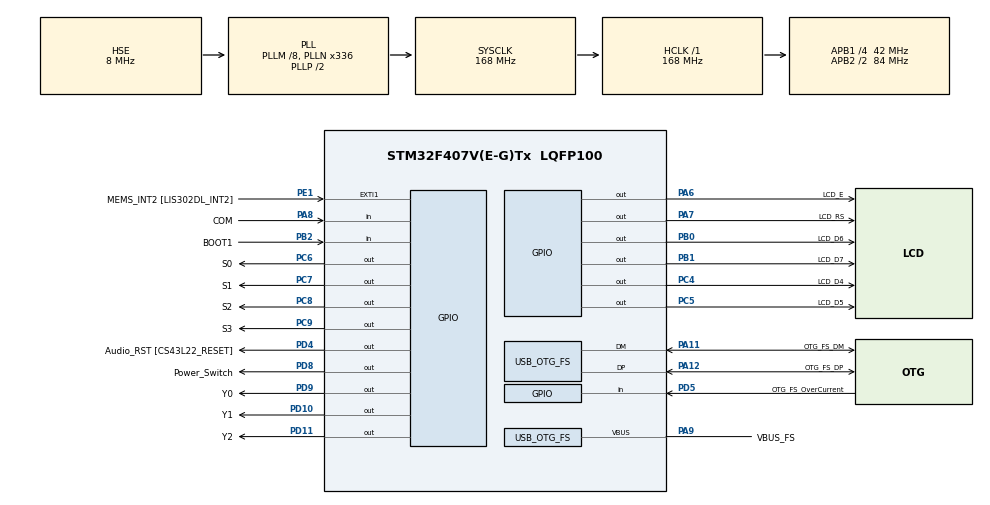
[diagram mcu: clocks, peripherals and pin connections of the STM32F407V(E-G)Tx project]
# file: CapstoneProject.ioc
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Mcu.Family=STM32F4
Mcu.Name=STM32F407V(E-G)Tx
Mcu.Package=LQFP100
NVIC.PriorityGroup=NVIC_PRIORITYGROUP_0
NVIC.TIM2_IRQn=true\:0\:0\:false\:false\:true\:true\:true\:true
PA10.GPIO_Label=OTG_FS_ID
PA10.GPIO_Mode=GPIO_MODE_AF_PP
PA10.GPIO_PuPd=GPIO_NOPULL
PA10.GPIO_Speed=GPIO_SPEED_FREQ_LOW
PA10.Signal=USB_OTG_FS_ID
PA11.GPIO_Label=OTG_FS_DM
PA11.GPIO_Mode=GPIO_MODE_AF_PP
PA11.GPIO_PuPd=GPIO_NOPULL
PA11.GPIO_Speed=GPIO_SPEED_FREQ_LOW
PA11.Mode=Host_Only
PA11.Signal=USB_OTG_FS_DM
PA12.GPIO_Label=OTG_FS_DP
PA12.GPIO_Mode=GPIO_MODE_AF_PP
PA12.GPIO_PuPd=GPIO_NOPULL
PA12.GPIO_Speed=GPIO_SPEED_FREQ_LOW
PA12.Mode=Host_Only
PA12.Signal=USB_OTG_FS_DP
PA13.GPIO_Label=SWDIO
PA13.Mode=Serial_Wire
PA13.Signal=SYS_JTMS-SWDIO
PA14.GPIO_Label=SWCLK
PA14.Mode=Serial_Wire
PA14.Signal=SYS_JTCK-SWCLK
PA6.GPIO_Label=LCD_E
PA6.Signal=GPIO_Output
PA7.GPIO_Label=LCD_RS
PA7.Signal=GPIO_Output
PA8.GPIO_Label=COM
PA8.Signal=GPIO_Input
PA9.GPIO_Label=VBUS_FS
PA9.GPIO_Mode=GPIO_MODE_INPUT
PA9.GPIO_PuPd=GPIO_NOPULL
PA9.Mode=Activate_VBUS
PA9.Signal=USB_OTG_FS_VBUS
PB0.GPIO_Label=LCD_D6
PB0.Signal=GPIO_Output
PB1.GPIO_Label=LCD_D7
PB1.Signal=GPIO_Output
PB10.GPIO_Label=CLK_IN [MP45DT02_CLK]
PB10.GPIO_Mode=GPIO_MODE_AF_PP
PB10.GPIO_PuPd=GPIO_NOPULL
PB10.GPIO_Speed=GPIO_SPEED_FREQ_LOW
PB10.Signal=I2S2_CK
PB2.GPIO_Label=BOOT1
PB2.GPIO_Mode=GPIO_MODE_INPUT
PB2.GPIO_PuPd=GPIO_NOPULL
PB2.Signal=GPIO_Input
PB3.GPIO_Label=SWO
PB3.Signal=SYS_JTDO-SWO
PC14-OSC32_IN.GPIO_Label=PC14-OSC32_IN
PC14-OSC32_IN.Mode=LSE-External-Oscillator
PC14-OSC32_IN.Signal=RCC_OSC32_IN
PC15-OSC32_OUT.GPIO_Label=PC15-OSC32_OUT
PC15-OSC32_OUT.Mode=LSE-External-Oscillator
PC15-OSC32_OUT.Signal=RCC_OSC32_OUT
PC4.GPIO_Label=LCD_D4
PC4.Signal=GPIO_Output
PC5.GPIO_Label=LCD_D5
PC5.Signal=GPIO_Output
PC6.GPIO_Label=S0
PC6.Signal=GPIO_Output
PC7.GPIO_Label=S1
PC7.Signal=GPIO_Output
PC8.GPIO_Label=S2
PC8.Signal=GPIO_Output
PC9.GPIO_Label=S3
PC9.Signal=GPIO_Output
PD10.GPIO_Label=Y1
PD10.Signal=GPIO_Output
PD11.GPIO_Label=Y2
PD11.Signal=GPIO_Output
PD4.GPIO_Label=Audio_RST [CS43L22_RESET]
PD4.GPIO_PuPd=GPIO_NOPULL
PD4.GPIO_Speed=GPIO_SPEED_FREQ_LOW
PD4.Signal=GPIO_Output
PD5.GPIO_Label=OTG_FS_OverCurrent
PD5.GPIO_Mode=GPIO_MODE_INPUT
PD5.GPIO_PuPd=GPIO_NOPULL
PD5.Signal=GPIO_Input
PD8.GPIO_Label=Power_Switch
PD8.Signal=GPIO_Output
PD9.GPIO_Label=Y0
PD9.Signal=GPIO_Output
PE1.GPIO_Label=MEMS_INT2 [LIS302DL_INT2]
PE1.GPIO_ModeDefaultEXTI=GPIO_MODE_EVT_RISING
PE1.GPIO_PuPd=GPIO_NOPULL
PE1.Signal=GPXTI1
PH0-OSC_IN.GPIO_Label=PH0-OSC_IN
PH0-OSC_IN.Mode=HSE-External-Oscillator
PH0-OSC_IN.Signal=RCC_OSC_IN
PH1-OSC_OUT.GPIO_Label=PH1-OSC_OUT
PH1-OSC_OUT.Mode=HSE-External-Oscillator
PH1-OSC_OUT.Signal=RCC_OSC_OUT
ProjectManager.HeapSize=0x200
ProjectManager.StackSize=0x400
ProjectManager.TargetToolchain=STM32CubeIDE
RCC.48MHZClocksFreq_Value=48000000
RCC.AHBFreq_Value=168000000
RCC.APB1CLKDivider=RCC_HCLK_DIV4
RCC.APB1Freq_Value=42000000
RCC.APB1TimFreq_Value=84000000
RCC.APB2CLKDivider=RCC_HCLK_DIV2
RCC.APB2Freq_Value=84000000
RCC.APB2TimFreq_Value=168000000
RCC.CortexFreq_Value=168000000
RCC.HCLKFreq_Value=168000000
RCC.HSE_VALUE=8000000
RCC.HSI_VALUE=16000000
RCC.PLLM=8
RCC.PLLN=336
RCC.PLLQ=7
RCC.SYSCLKFreq_VALUE=168000000
RCC.SYSCLKSource=RCC_SYSCLKSOURCE_PLLCLK
RCC.VCOOutputFreq_Value=336000000
TIM2.Period=41999
TIM2.TIM_MasterOutputTrigger=TIM_TRGO_UPDATE
USB_OTG_FS.VirtualMode=Host_Only
USB_OTG_FS.phy_itface=HCD_PHY_EMBEDDED
VP_TIM2_VS_ClockSourceINT.Mode=Internal
board=STM32F407G-DISC1

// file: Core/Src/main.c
/* USER CODE BEGIN Header */
/**
  ******************************************************************************
  * @file           : main.c
  * @brief          : Main program body
  ******************************************************************************
  * @attention
  *
  * Copyright (c) 2024 STMicroelectronics.
  * All rights reserved.
  *
  * This software is licensed under terms that can be found in the LICENSE file
  * in the root directory of this software component.
  * If no LICENSE file comes with this software, it is provided AS-IS.
  *
  ******************************************************************************
  */
/* USER CODE END Header */
#include "main.h"
#include "tim.h"
#include "usb_otg.h"
#include "gpio.h"

/* USER CODE BEGIN Includes */

#include <stdio.h>
#include <stdint.h>
#include "screen.h"
#include "keyboard.h"
#include "ESLApplication.h"

/* USER CODE END Includes */

/* USER CODE BEGIN PV */

uint8_t columnNumber = 0;
uint8_t current_row = 0;
int screenColumn = 0;
int screenRow = 0;
int keyDetected = 0;

char current_word[32] = "";  // Global word buffer with space for 32 characters
//PRESS ENTER WITH EXPECTED WORD AND IT DELETES
char expected_word[32] = "HELLO";
/* USER CODE END PV */

void SystemClock_Config(void);

int main(void)
{

  /* MCU Configuration--------------------------------------------------------*/

  /* Reset of all peripherals, Initializes the Flash interface and the Systick. */
  HAL_Init();

  /* Configure the system clock */
  SystemClock_Config();

  /* Initialize all configured peripherals */
  MX_GPIO_Init();
  MX_USB_OTG_FS_HCD_Init();
  MX_TIM2_Init();
  /* USER CODE BEGIN 2 */

  // Turn on Power Switch
  HAL_GPIO_WritePin(Power_Switch_GPIO_Port, Power_Switch_Pin, SET);

  // Initialize LCD screen
  Lcd_PortType ports[] = {
	LCD_D4_GPIO_Port, LCD_D5_GPIO_Port, LCD_D6_GPIO_Port, LCD_D7_GPIO_Port
	};

  Lcd_PinType pins[] = {LCD_D4_Pin, LCD_D5_Pin, LCD_D6_Pin, LCD_D7_Pin};

  // Create LCD handle
  Lcd_HandleTypeDef lcd = Lcd_create(ports, pins, LCD_RS_GPIO_Port, LCD_RS_Pin, LCD_E_GPIO_Port, LCD_E_Pin, LCD_4_BIT_MODE);

  // initialize LCD
  Lcd_init(&lcd);
  Lcd_cursor(&lcd, 0, 0);  // Set cursor to the first row, first column
  Lcd_string(&lcd, "Presione 'Start'");  // Display "Press" on the first row
  Lcd_cursor(&lcd, 1, 0);  // Set cursor to the second row, first column
  Lcd_string(&lcd, "para comenzar");  // Display "Start" on the second row

  // start timer
  if (HAL_TIM_Base_Start_IT(&htim2) != HAL_OK)
  {
	  Error_Handler();
  }

  /* USER CODE END 2 */

  /* Infinite loop */
  /* USER CODE BEGIN WHILE */
  while (1)
  {
	  scanKeyboard(&lcd, &screenRow, &screenColumn);
  }
    /* USER CODE END WHILE */

}

void SystemClock_Config(void)
{
  RCC_OscInitTypeDef RCC_OscInitStruct = {0};
  RCC_ClkInitTypeDef RCC_ClkInitStruct = {0};

  /** Configure the main internal regulator output voltage
  */
  __HAL_RCC_PWR_CLK_ENABLE();
  __HAL_PWR_VOLTAGESCALING_CONFIG(PWR_REGULATOR_VOLTAGE_SCALE1);

  /** Initializes the RCC Oscillators according to the specified parameters
  * in the RCC_OscInitTypeDef structure.
  */
  RCC_OscInitStruct.OscillatorType = RCC_OSCILLATORTYPE_HSE;
  RCC_OscInitStruct.HSEState = RCC_HSE_ON;
  RCC_OscInitStruct.PLL.PLLState = RCC_PLL_ON;
  RCC_OscInitStruct.PLL.PLLSource = RCC_PLLSOURCE_HSE;
  RCC_OscInitStruct.PLL.PLLM = 8;
  RCC_OscInitStruct.PLL.PLLN = 336;
  RCC_OscInitStruct.PLL.PLLP = RCC_PLLP_DIV2;
  RCC_OscInitStruct.PLL.PLLQ = 7;
  if (HAL_RCC_OscConfig(&RCC_OscInitStruct) != HAL_OK)
  {
    Error_Handler();
  }

  /** Initializes the CPU, AHB and APB buses clocks
  */
  RCC_ClkInitStruct.ClockType = RCC_CLOCKTYPE_HCLK|RCC_CLOCKTYPE_SYSCLK
                              |RCC_CLOCKTYPE_PCLK1|RCC_CLOCKTYPE_PCLK2;
  RCC_ClkInitStruct.SYSCLKSource = RCC_SYSCLKSOURCE_PLLCLK;
  RCC_ClkInitStruct.AHBCLKDivider = RCC_SYSCLK_DIV1;
  RCC_ClkInitStruct.APB1CLKDivider = RCC_HCLK_DIV4;
  RCC_ClkInitStruct.APB2CLKDivider = RCC_HCLK_DIV2;

  if (HAL_RCC_ClockConfig(&RCC_ClkInitStruct, FLASH_LATENCY_5) != HAL_OK)
  {
    Error_Handler();
  }
}

/* USER CODE BEGIN 4 */
void HAL_TIM_PeriodElapsedCallback(TIM_HandleTypeDef *htim) // 4 kHz clock
{
	if (htim -> Instance == TIM2 && keyDetected == 0)
	{
		// Reset all rows to high
		HAL_GPIO_WritePin(Y0_GPIO_Port, Y0_Pin, SET);
		HAL_GPIO_WritePin(Y1_GPIO_Port, Y1_Pin, SET);
		HAL_GPIO_WritePin(Y2_GPIO_Port, Y2_Pin, SET);

		// Drive the current row low
		switch (current_row)
		{
		case 0:
			HAL_GPIO_WritePin(Y0_GPIO_Port, Y0_Pin, RESET);
			break;
		case 1:
			HAL_GPIO_WritePin(Y1_GPIO_Port, Y1_Pin, RESET);
			break;
		case 2:
			HAL_GPIO_WritePin(Y2_GPIO_Port, Y2_Pin, RESET);
			break;
		}

		current_row = (current_row + 1) % 3; // update current row
	}
}

/* USER CODE END 4 */

void Error_Handler(void)
{
  __disable_irq();
  while (1)
  {
  }
}
